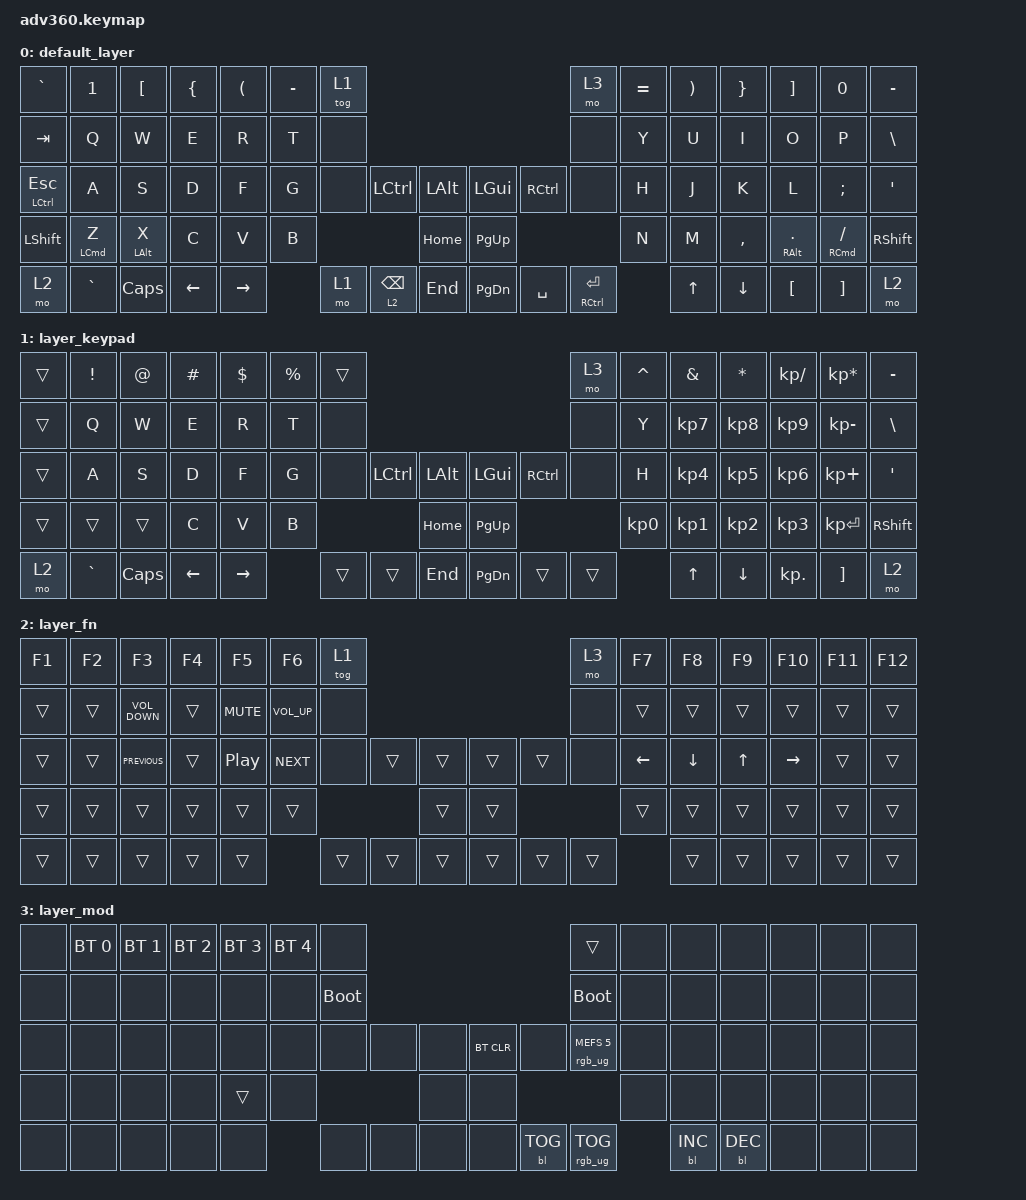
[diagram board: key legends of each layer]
/*
 * Copyright (c) 2020 The ZMK Contributors
 *
 * SPDX-License-Identifier: MIT
 */
/* THIS FILE WAS GENERATED!
 *
 * This file was generated automatically. You may or may not want to
 * edit it directly.
 */

#include <behaviors.dtsi>
#include <dt-bindings/zmk/backlight.h>
#include <dt-bindings/zmk/bt.h>
#include <dt-bindings/zmk/keys.h>
#include <dt-bindings/zmk/rgb.h>

/ {
    behaviors {
        #include "macros.dtsi"
    #include "version.dtsi"

        hm: homerow_mods {
            compatible = "zmk,behavior-hold-tap";
            label = "HOMEROW_MODS";
            #binding-cells = <2>;
            tapping-term-ms = <150>;
            quick_tap_ms = <175>;
            flavor = "tap-preferred";
            bindings = <&kp>, <&kp>;
        };
    };

    keymap {
        compatible = "zmk,keymap";

        default_layer {
            bindings = <
&kp GRAVE      &kp N1      &kp LEFT_BRACKET  &kp LEFT_BRACE  &kp LEFT_PARENTHESIS  &kp MINUS  &tog 1                                                       &mo 3                    &kp EQUAL  &kp RIGHT_PARENTHESIS  &kp RIGHT_BRACE  &kp RIGHT_BRACKET  &kp N0                   &kp MINUS
&kp TAB        &kp Q       &kp W             &kp E           &kp R                 &kp T      &none                                                        &none                    &kp Y      &kp U                  &kp I            &kp O              &kp P                    &kp BSLH
&mt LCTRL ESC  &kp A       &kp S             &kp D           &kp F                 &kp G      &none   &kp LCTRL        &kp LALT      &kp LGUI   &kp RCTRL  &none                    &kp H      &kp J                  &kp K            &kp L              &kp SEMI                 &kp SQT
&kp LSHFT      &hm LCMD Z  &hm LEFT_ALT X    &kp C           &kp V                 &kp B                               &kp HOME      &kp PG_UP                                      &kp N      &kp M                  &kp COMMA        &hm RIGHT_ALT DOT  &hm RIGHT_COMMAND SLASH  &kp RSHFT
&mo 2          &kp GRAVE   &kp CAPS          &kp LEFT        &kp RIGHT                        &mo 1   &lt 2 BACKSPACE  &kp END       &kp PG_DN  &kp SPACE  &mt RIGHT_CONTROL ENTER             &kp UP                 &kp DOWN         &kp LBKT           &kp RBKT                 &mo 2
            >;
        };

        layer_keypad {
            bindings = <
&trans  &kp EXCLAMATION  &kp AT    &kp HASH  &kp DOLLAR  &kp PERCENT  &trans                                                 &mo 3   &kp CARET  &kp AMPERSAND  &kp ASTERISK  &kp KP_DIVIDE  &kp KP_MULTIPLY  &kp MINUS
&trans  &kp Q            &kp W     &kp E     &kp R       &kp T        &none                                                  &none   &kp Y      &kp KP_N7      &kp KP_N8     &kp KP_N9      &kp KP_MINUS     &kp BSLH
&trans  &kp A            &kp S     &kp D     &kp F       &kp G        &none   &kp LCTRL  &kp LALT      &kp LGUI   &kp RCTRL  &none   &kp H      &kp KP_N4      &kp KP_N5     &kp KP_N6      &kp KP_PLUS      &kp SQT
&trans  &trans           &trans    &kp C     &kp V       &kp B                           &kp HOME      &kp PG_UP                     &kp KP_N0  &kp KP_N1      &kp KP_N2     &kp KP_N3      &kp KP_ENTER     &kp RSHFT
&mo 2   &kp GRAVE        &kp CAPS  &kp LEFT  &kp RIGHT                &trans  &trans     &kp END       &kp PG_DN  &trans     &trans             &kp UP         &kp DOWN      &kp KP_DOT     &kp RBKT         &mo 2
            >;
        };

        layer_fn {
            bindings = <
&kp F1  &kp F2  &kp F3             &kp F4  &kp F5            &kp F6           &tog 1                                      &mo 3   &kp F7          &kp F8          &kp F9        &kp F10          &kp F11  &kp F12
&trans  &trans  &kp C_VOLUME_DOWN  &trans  &kp C_MUTE        &kp C_VOLUME_UP  &none                                       &none   &trans          &trans          &trans        &trans           &trans   &trans
&trans  &trans  &kp C_PREVIOUS     &trans  &kp C_PLAY_PAUSE  &kp C_NEXT       &none   &trans  &trans      &trans  &trans  &none   &kp LEFT_ARROW  &kp DOWN_ARROW  &kp UP_ARROW  &kp RIGHT_ARROW  &trans   &trans
&trans  &trans  &trans             &trans  &trans            &trans                           &trans      &trans                  &trans          &trans          &trans        &trans           &trans   &trans
&trans  &trans  &trans             &trans  &trans                             &trans  &trans  &trans      &trans  &trans  &trans                  &trans          &trans        &trans           &trans   &trans
            >;
        };

        layer_mod {
            bindings = <
&none  &bt BT_SEL 0  &bt BT_SEL 1  &bt BT_SEL 2  &bt BT_SEL 3  &bt BT_SEL 4  &none                                                  &trans                  &none  &none       &none       &none  &none  &none
&none  &none         &none         &none         &none         &none         &bootloader                                            &bootloader             &none  &none       &none       &none  &none  &none
&none  &none         &none         &none         &none         &none         &none        &none  &none      &bt BT_CLR  &none       &rgb_ug RGB_MEFS_CMD 5  &none  &none       &none       &none  &none  &none
&none  &none         &none         &none         &trans        &none                             &none      &none                                           &none  &none       &none       &none  &none  &none
&none  &none         &none         &none         &none                       &none        &none  &none      &none       &bl BL_TOG  &rgb_ug RGB_TOG                &bl BL_INC  &bl BL_DEC  &none  &none  &none
            >;
        };
    };
};
